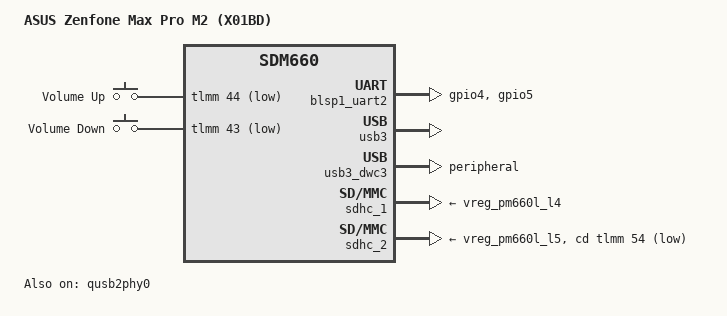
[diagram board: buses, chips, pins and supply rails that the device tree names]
// SPDX-License-Identifier: GPL-2.0-only
/*
 * Copyright (c) 2026, Fitrian Musya <fitrianmusya@gmail.com>
 */

/dts-v1/;

#include <dt-bindings/gpio/gpio.h>
#include <dt-bindings/input/input.h>

#include "sdm660.dtsi"
#include "pm660.dtsi"
#include "pm660l.dtsi"

/ {
	model = "ASUS Zenfone Max Pro M2 (X01BD)";
	compatible = "asus,x01bd", "qcom,sdm660";
	chassis-type = "handset";

	qcom,msm-id = <317 0x0>;
	qcom,board-id = <0x1000b 0x0>;
	qcom,pmic-id = <0x1001b 0x101011a 0x0 0x0
			0x1001b 0x201011a 0x0 0x0>;

	aliases {
		serial0 = &blsp1_uart2;
		mmc0 = &sdhc_1;
		mmc1 = &sdhc_2;
	};

	chosen {
		#address-cells = <2>;
		#size-cells = <2>;
		ranges;

		stdout-path = "serial0:115200n8";

		framebuffer@9d400000 {
			compatible = "simple-framebuffer";
			reg = <0x0 0x9d400000 0x0 (1080 * 2280 * 4)>;
			width = <1080>;
			height = <2280>;
			stride = <(1080 * 4)>;
			format = "a8r8g8b8";
		};
	};

	memory@80000000 {
		device_type = "memory";
		reg = <0x0 0x80000000 0x0 0x0>;
	};

	reserved-memory {
		splash_region: memory@9d400000 {
			reg = <0x0 0x9d400000 0x0 0x2400000>;
			no-map;
		};

		ramoops@9ff00000 {
			compatible = "ramoops";
			reg = <0x0 0x9ff00000 0x0 0x100000>;
			console-size = <0x40000>;
			pmsg-size = <0x40000>;
			record-size = <0x20000>;
			no-map;
		};
	};

	gpio-keys {
		compatible = "gpio-keys";
		pinctrl-names = "default";
		pinctrl-0 = <&vol_keys_default>;

		key-volume-up {
			label = "Volume Up";
			gpios = <&tlmm 44 GPIO_ACTIVE_LOW>;
			linux,code = <KEY_VOLUMEUP>;
			debounce-interval = <15>;
			wakeup-source;
		};

		key-volume-down {
			label = "Volume Down";
			gpios = <&tlmm 43 GPIO_ACTIVE_LOW>;
			linux,code = <KEY_VOLUMEDOWN>;
			debounce-interval = <15>;
			wakeup-source;
		};
	};
};

&rpm_requests {
	regulators-0 {
		compatible = "qcom,rpm-pm660-regulators";

		vreg_pm660_l8: l8 {
			regulator-min-microvolt = <1750000>;
			regulator-max-microvolt = <1900000>;
		};

		vreg_pm660_l10: l10 {
			regulator-min-microvolt = <1780000>;
			regulator-max-microvolt = <1950000>;
		};

		vreg_pm660_l11: l11 {
			regulator-min-microvolt = <1780000>;
			regulator-max-microvolt = <1950000>;
		};
	};

	regulators-1 {
		compatible = "qcom,rpm-pm660l-regulators";

		vreg_pm660l_l1: l1 {
			regulator-min-microvolt = <800000>;
			regulator-max-microvolt = <925000>;
		};

		vreg_pm660l_l2: l2 {
			regulator-min-microvolt = <1800000>;
			regulator-max-microvolt = <2950000>;
		};

		vreg_pm660l_l3: l3 {
			regulator-min-microvolt = <1710000>;
			regulator-max-microvolt = <3600000>;
			regulator-always-on;
		};

		vreg_pm660l_l4: l4 {
			regulator-min-microvolt = <1700000>;
			regulator-max-microvolt = <2950000>;
		};

		vreg_pm660l_l5: l5 {
			regulator-min-microvolt = <2950000>;
			regulator-max-microvolt = <2950000>;
		};

		vreg_pm660l_l7: l7 {
			regulator-min-microvolt = <2700000>;
			regulator-max-microvolt = <3125000>;
			regulator-always-on;
		};
	};
};

&tlmm {
	uart_console_default: uart-console-default-state {
		pins = "gpio4", "gpio5";
		function = "blsp_uart2";
		drive-strength = <2>;
		bias-disable;
	};

	vol_keys_default: vol-keys-default-state {
		pins = "gpio43", "gpio44";
		function = "gpio";
		drive-strength = <2>;
		bias-pull-up;
	};
};

&blsp1_uart2 {
	pinctrl-names = "default";
	pinctrl-0 = <&uart_console_default>;
	status = "okay";
};

&usb3 {
	status = "okay";
};

&usb3_dwc3 {
	dr_mode = "peripheral";
	maximum-speed = "high-speed";
};

&qusb2phy0 {
	vdd-supply = <&vreg_pm660l_l1>;
	vdda-pll-supply = <&vreg_pm660_l10>;
	vdda-phy-dpdm-supply = <&vreg_pm660l_l7>;
	status = "okay";
};

&sdhc_1 {
	vmmc-supply = <&vreg_pm660l_l4>;
	vqmmc-supply = <&vreg_pm660_l8>;
	status = "okay";
};

&sdhc_2 {
	vmmc-supply = <&vreg_pm660l_l5>;
	vqmmc-supply = <&vreg_pm660l_l2>;
	cd-gpios = <&tlmm 54 GPIO_ACTIVE_LOW>;
	status = "okay";
};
